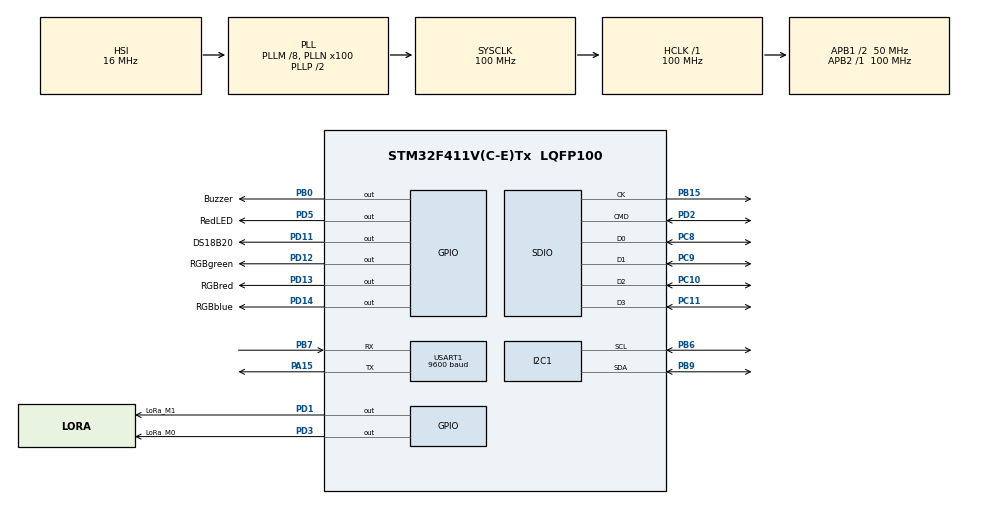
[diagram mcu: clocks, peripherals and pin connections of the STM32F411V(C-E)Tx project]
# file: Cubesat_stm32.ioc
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FATFS._MAX_SS=4096
Mcu.Family=STM32F4
Mcu.Name=STM32F411V(C-E)Tx
Mcu.Package=LQFP100
NVIC.PriorityGroup=NVIC_PRIORITYGROUP_4
PA15.Mode=Asynchronous
PA15.Signal=USART1_TX
PB0.GPIO_Label=Buzzer
PB0.Signal=GPIO_Output
PB15.Mode=SD_4_bits_Wide_bus
PB15.Signal=SDIO_CK
PB6.Mode=I2C
PB6.Signal=I2C1_SCL
PB7.Mode=Asynchronous
PB7.Signal=USART1_RX
PB9.Mode=I2C
PB9.Signal=I2C1_SDA
PC10.GPIO_PuPd=GPIO_PULLUP
PC10.Mode=SD_4_bits_Wide_bus
PC10.Signal=SDIO_D2
PC11.GPIO_PuPd=GPIO_PULLUP
PC11.Mode=SD_4_bits_Wide_bus
PC11.Signal=SDIO_D3
PC14-OSC32_IN.Mode=LSE-External-Oscillator
PC14-OSC32_IN.Signal=RCC_OSC32_IN
PC15-OSC32_OUT.Mode=LSE-External-Oscillator
PC15-OSC32_OUT.Signal=RCC_OSC32_OUT
PC8.GPIO_PuPd=GPIO_PULLUP
PC8.Mode=SD_4_bits_Wide_bus
PC8.Signal=SDIO_D0
PC9.GPIO_PuPd=GPIO_PULLUP
PC9.Mode=SD_4_bits_Wide_bus
PC9.Signal=SDIO_D1
PD1.GPIO_Label=LoRa_M1
PD1.Signal=GPIO_Output
PD11.GPIO_Label=DS18B20
PD11.Signal=GPIO_Output
PD12.GPIO_Label=RGBgreen
PD12.Signal=GPIO_Output
PD13.GPIO_Label=RGBred
PD13.Signal=GPIO_Output
PD14.GPIO_Label=RGBblue
PD14.Signal=GPIO_Output
PD2.GPIO_PuPd=GPIO_PULLUP
PD2.Mode=SD_4_bits_Wide_bus
PD2.Signal=SDIO_CMD
PD3.GPIO_Label=LoRa_M0
PD3.Signal=GPIO_Output
PD5.GPIO_Label=RedLED
PD5.Signal=GPIO_Output
PH0\ -\ OSC_IN.Mode=HSE-External-Oscillator
PH0\ -\ OSC_IN.Signal=RCC_OSC_IN
PH1\ -\ OSC_OUT.Mode=HSE-External-Oscillator
PH1\ -\ OSC_OUT.Signal=RCC_OSC_OUT
ProjectManager.HeapSize=0x200
ProjectManager.StackSize=0x400
ProjectManager.TargetToolchain=STM32CubeIDE
RCC.48MHZClocksFreq_Value=40000000
RCC.AHBFreq_Value=100000000
RCC.APB1CLKDivider=RCC_HCLK_DIV2
RCC.APB1Freq_Value=50000000
RCC.APB1TimFreq_Value=100000000
RCC.APB2Freq_Value=100000000
RCC.APB2TimFreq_Value=100000000
RCC.CortexFreq_Value=100000000
RCC.HCLKFreq_Value=100000000
RCC.HSE_VALUE=25000000
RCC.HSI_VALUE=16000000
RCC.PLLM=8
RCC.PLLN=100
RCC.PLLQ=5
RCC.SYSCLKFreq_VALUE=100000000
RCC.SYSCLKSource=RCC_SYSCLKSOURCE_PLLCLK
RCC.VCOOutputFreq_Value=200000000
TIM10.Prescaler=50-1
USART1.BaudRate=9600
USART1.VirtualMode=VM_ASYNC
VP_FATFS_VS_SDIO.Mode=SDIO
VP_TIM10_VS_ClockSourceINT.Mode=Enable_Timer
board=custom

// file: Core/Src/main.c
/* USER CODE BEGIN Header */
/**
  ******************************************************************************
  * @file           : main.c
  * @brief          : Main program body
  ******************************************************************************
  * @attention
  *
  * Copyright (c) 2023 STMicroelectronics.
  * All rights reserved.
  *
  * This software is licensed under terms that can be found in the LICENSE file
  * in the root directory of this software component.
  * If no LICENSE file comes with this software, it is provided AS-IS.
  *
  ******************************************************************************
  */
/* USER CODE END Header */
#include "main.h"
#include "fatfs.h"
#include "i2c.h"
#include "sdio.h"
#include "tim.h"
#include "usart.h"
#include "gpio.h"
#include <string.h>

/* USER CODE BEGIN Includes */
#include "stdio.h"
#include "onewire.h"

/* USER CODE END Includes */

/* USER CODE BEGIN PD */

#define DS18B20_PORT GPIOA
#define DS18B20_PIN GPIO_PIN_1

/* USER CODE END PD */

void SystemClock_Config(void);

/* USER CODE BEGIN 0 */
FATFS SDFatFs;  /* File system object for SD card logical drive */
FIL MyFile;     /* File object */
//extern char SDPath[4];  /* SD logical drive path */

void delay (uint16_t time) {
	/* change your code here for the delay in microseconds */
	__HAL_TIM_SET_COUNTER(&htim10, 0);
	while ((__HAL_TIM_GET_COUNTER(&htim10))<time);
}

/* USER CODE END 0 */

int main(void)
{
  /* USER CODE BEGIN 1 */
    IMU_EN_SENSOR_TYPE enMotionSensorType, enPressureType;
    IMU_ST_ANGLES_DATA stAngles;
    IMU_ST_SENSOR_DATA stGyroRawData;
    IMU_ST_SENSOR_DATA stAccelRawData;
    IMU_ST_SENSOR_DATA stMagnRawData;
    int32_t s32PressureVal = 0, s32TemperatureVal = 0, s32AltitudeVal = 0;

    imuInit(&enMotionSensorType, &enPressureType);

  /* USER CODE END 1 */

  /* MCU Configuration--------------------------------------------------------*/

  /* Reset of all peripherals, Initializes the Flash interface and the Systick. */
  HAL_Init();

  /* Configure the system clock */
  SystemClock_Config();

  /* Initialize all configured peripherals */
  MX_GPIO_Init();
  MX_USART1_UART_Init();
  MX_SDIO_SD_Init();
  MX_FATFS_Init();
  MX_I2C1_Init();
  MX_TIM10_Init();

  /* USER CODE BEGIN 2 */
  HAL_TIM_Base_Start(&htim10);

  //some lora init...
    HAL_GPIO_WritePin(LoRa_M0_GPIO_Port, LoRa_M0_Pin, 0);
    HAL_GPIO_WritePin(LoRa_M1_GPIO_Port, LoRa_M1_Pin, 1);

    uint8_t command[8];
    command[0] = 0xC0;
    command[1] = 0x00;
    command[2] = 0x05;
    command[3] = 0x00;
    command[4] = 0x00;
    command[5] = 0x00;
    command[6] = 0x61;
    command[7] = 0x17;
    HAL_UART_Transmit(&huart1, command, 8, 500);

    //normal mode
    HAL_GPIO_WritePin(LoRa_M0_GPIO_Port, LoRa_M0_Pin, 0);
    HAL_GPIO_WritePin(LoRa_M1_GPIO_Port, LoRa_M1_Pin, 0);
    uint8_t data[6];
    data[0] = 0x00;
    data[1] = 0x00;
    data[2] = 0x17;
    data[3] = 0xAA;
    data[4] = 0xBB;
    data[5] = 0xCC;

    // SD test
    FRESULT res;                                          /* FatFs function common result code */
    uint32_t byteswritten, bytesread;                     /* File write/read counts */
    uint8_t wtext[] = "Hello write from Stm32 to Micro SD!!!"; /* File write buffer */

      if(f_mount(&SDFatFs, (TCHAR const*)SDPath, 0) != FR_OK)
      {
          Error_Handler();
      }
      else
      {
          HAL_GPIO_WritePin(RGBblue_GPIO_Port,RGBblue_Pin , GPIO_PIN_SET);
          HAL_Delay(1000);
          HAL_GPIO_WritePin(RGBblue_GPIO_Port,RGBblue_Pin , GPIO_PIN_RESET);
          HAL_Delay(100);
      }

      if(f_open(&MyFile, "my001.txt",FA_CREATE_ALWAYS | FA_WRITE) != FR_OK)
      {
          Error_Handler();
      }
      else
      {
          HAL_GPIO_WritePin(RGBblue_GPIO_Port,RGBblue_Pin , GPIO_PIN_SET);
          HAL_Delay(1000);
          HAL_GPIO_WritePin(RGBblue_GPIO_Port,RGBblue_Pin , GPIO_PIN_RESET);
          HAL_Delay(100);
      }

      res = f_write(&MyFile, wtext, sizeof(wtext), (void *)&byteswritten);

      if((byteswritten == 0) || (res != FR_OK))
      {
          Error_Handler();
      }
      else
      {
          HAL_GPIO_WritePin(RGBblue_GPIO_Port,RGBblue_Pin , GPIO_PIN_SET);
          HAL_Delay(1000);
          HAL_GPIO_WritePin(RGBblue_GPIO_Port,RGBblue_Pin , GPIO_PIN_RESET);
          HAL_Delay(100);
      }
      f_close(&MyFile);

    // I2C test
      uint8_t buf[8] = {0};
      uint8_t separator[] = " . ";
      uint8_t new_line[] = "\r\n";
      uint8_t start_text[] = "Start scanning I2C: \r\n";
      uint8_t end_text[] = "\r\nStop scanning";

      uint8_t row = 0, state;

      HAL_Delay(1000);

      // процедура сканирования
      HAL_UART_Transmit(&huart1, start_text, strlen(start_text), 128);
      for( uint8_t i=1; i<128; i++ ){
          state = HAL_I2C_IsDeviceReady(&hi2c1, (uint16_t)(i<<1), 3, 5);

          if ( state != HAL_OK ){ // нет ответа от адреса
              HAL_UART_Transmit(&huart1, separator, strlen(separator), 128);
          }

          else if(state == HAL_OK){ // есть ответ
              sprintf(buf, "0x%X", i);
              HAL_UART_Transmit(&huart1, buf, strlen(buf), 128);
          }

          if( row == 15 ){
              row = 0;
              HAL_UART_Transmit(&huart1, new_line, strlen(new_line), 128);
          } else
              row ++;
      }
      HAL_UART_Transmit(&huart1, end_text, strlen(end_text), 128);

    // 10DOF test
      imuDataGet( &stAngles, &stGyroRawData, &stAccelRawData, &stMagnRawData);
      pressSensorDataGet(&s32TemperatureVal, &s32PressureVal, &s32AltitudeVal);
      printf("\r\n /-------------------------------------------------------------/ \r\n");
      //printf("\r\n Roll: %.2f     Pitch: %.2f     Yaw: %.2f \r\n",stAngles.fRoll, stAngles.fPitch, stAngles.fYaw);
      printf("\r\n Acceleration: X: %d     Y: %d     Z: %d \r\n",stAccelRawData.s16X, stAccelRawData.s16Y, stAccelRawData.s16Z);
      printf("\r\n Gyroscope: X: %d     Y: %d     Z: %d \r\n",stGyroRawData.s16X, stGyroRawData.s16Y, stGyroRawData.s16Z);
      printf("\r\n Magnetic: X: %d     Y: %d     Z: %d \r\n",stMagnRawData.s16X, stMagnRawData.s16Y, stMagnRawData.s16Z);
      //printf("\r\n Pressure: %.2f     Altitude: %.2f \r\n",(float)s32PressureVal/100, (float)s32AltitudeVal/100);
      //printf("\r\n Temperature: %.1f \r\n", (float)s32TemperatureVal/100);
      HAL_Delay(100);

  /* USER CODE END 2 */

  /* Infinite loop */
  while (1)
  {

    /* USER CODE BEGIN 3 */
      HAL_GPIO_WritePin(RGBgreen_GPIO_Port, RGBgreen_Pin, GPIO_PIN_SET);

      //HAL_GPIO_TogglePin(RedLED_GPIO_Port, RedLED_Pin);
      //HAL_Delay(700);
      uint8_t deb[] = "12345\n";
      deb[2] = 'x';

      float Temperature = (float)DS18B20_Getemp()/16;

      HAL_UART_Transmit(&huart1, deb, 6, 100);
      HAL_Delay(1000);
  }
  /* USER CODE END 3 */
}

void SystemClock_Config(void)
{
  RCC_OscInitTypeDef RCC_OscInitStruct = {0};
  RCC_ClkInitTypeDef RCC_ClkInitStruct = {0};

  /** Configure the main internal regulator output voltage
  */
  __HAL_RCC_PWR_CLK_ENABLE();
  __HAL_PWR_VOLTAGESCALING_CONFIG(PWR_REGULATOR_VOLTAGE_SCALE1);

  /** Initializes the RCC Oscillators according to the specified parameters
  * in the RCC_OscInitTypeDef structure.
  */
  RCC_OscInitStruct.OscillatorType = RCC_OSCILLATORTYPE_HSI;
  RCC_OscInitStruct.HSIState = RCC_HSI_ON;
  RCC_OscInitStruct.HSICalibrationValue = RCC_HSICALIBRATION_DEFAULT;
  RCC_OscInitStruct.PLL.PLLState = RCC_PLL_ON;
  RCC_OscInitStruct.PLL.PLLSource = RCC_PLLSOURCE_HSI;
  RCC_OscInitStruct.PLL.PLLM = 8;
  RCC_OscInitStruct.PLL.PLLN = 100;
  RCC_OscInitStruct.PLL.PLLP = RCC_PLLP_DIV2;
  RCC_OscInitStruct.PLL.PLLQ = 5;
  if (HAL_RCC_OscConfig(&RCC_OscInitStruct) != HAL_OK)
  {
    Error_Handler();
  }

  /** Initializes the CPU, AHB and APB buses clocks
  */
  RCC_ClkInitStruct.ClockType = RCC_CLOCKTYPE_HCLK|RCC_CLOCKTYPE_SYSCLK
                              |RCC_CLOCKTYPE_PCLK1|RCC_CLOCKTYPE_PCLK2;
  RCC_ClkInitStruct.SYSCLKSource = RCC_SYSCLKSOURCE_PLLCLK;
  RCC_ClkInitStruct.AHBCLKDivider = RCC_SYSCLK_DIV1;
  RCC_ClkInitStruct.APB1CLKDivider = RCC_HCLK_DIV2;
  RCC_ClkInitStruct.APB2CLKDivider = RCC_HCLK_DIV1;

  if (HAL_RCC_ClockConfig(&RCC_ClkInitStruct, FLASH_LATENCY_3) != HAL_OK)
  {
    Error_Handler();
  }
}

void Error_Handler(void)
{
  /* USER CODE BEGIN Error_Handler_Debug */
  /* User can add his own implementation to report the HAL error return state */
  __disable_irq();
  while (1)
  {
      HAL_GPIO_WritePin(RGBred_GPIO_Port, RGBred_Pin, GPIO_PIN_SET);

      HAL_GPIO_TogglePin(Buzzer_GPIO_Port, Buzzer_Pin);
      HAL_Delay(500);
  }
  /* USER CODE END Error_Handler_Debug */
}
